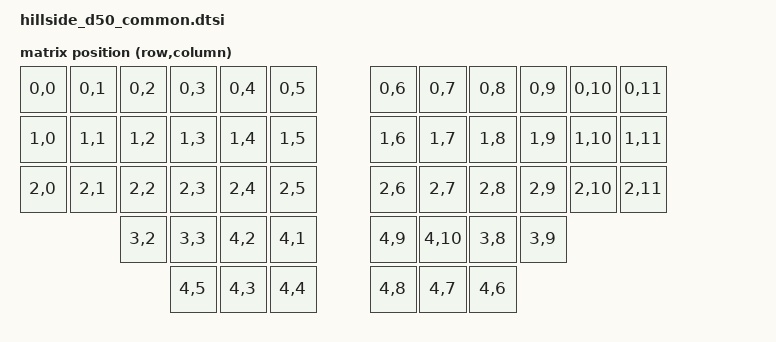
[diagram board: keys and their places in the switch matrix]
/* Shared matrix transform for the Hillside D50.
 *
 * Reused by the dongle shield so the central can decode key positions
 * reported by the peripherals. Anything that depends on pro_micro (real
 * kscan, board-level peripherals) lives in hillside_d50.dtsi instead.
 *
 * We deliberately use the older chosen `zmk,kscan` + `zmk,matrix_transform`
 * approach (mirroring temper's working dongle setup) instead of
 * zmk,physical-layout — Studio support isn't needed and physical-layout
 * has surprised us in split BLE mode.
 */

#include <dt-bindings/zmk/matrix_transform.h>

/ {
    default_transform: keymap_transform_0 {
        compatible = "zmk,matrix-transform";

        columns = <12>;
        rows = <5>;

        // Left thumb cluster: cols 1/2 (upper row) and 3/4 (bot row) are
        // wired in the opposite physical order from what their column
        // numbers suggest, so the inner two of each pair are swapped here
        // to keep matrix-transform position order matching outer→inner.
        // Verified against Karabiner event viewer.
        map = <
RC(0,0) RC(0,1) RC(0,2) RC(0,3) RC(0,4) RC(0,5)         RC(0,6) RC(0,7)  RC(0,8) RC(0,9) RC(0,10) RC(0,11)
RC(1,0) RC(1,1) RC(1,2) RC(1,3) RC(1,4) RC(1,5)         RC(1,6) RC(1,7)  RC(1,8) RC(1,9) RC(1,10) RC(1,11)
RC(2,0) RC(2,1) RC(2,2) RC(2,3) RC(2,4) RC(2,5)         RC(2,6) RC(2,7)  RC(2,8) RC(2,9) RC(2,10) RC(2,11)
                RC(3,2) RC(3,3)   RC(4,2) RC(4,1)     RC(4,9) RC(4,10)   RC(3,8) RC(3,9)
                          RC(4,5) RC(4,3) RC(4,4)     RC(4,8) RC(4,7)  RC(4,6)
        >;
    };
};
